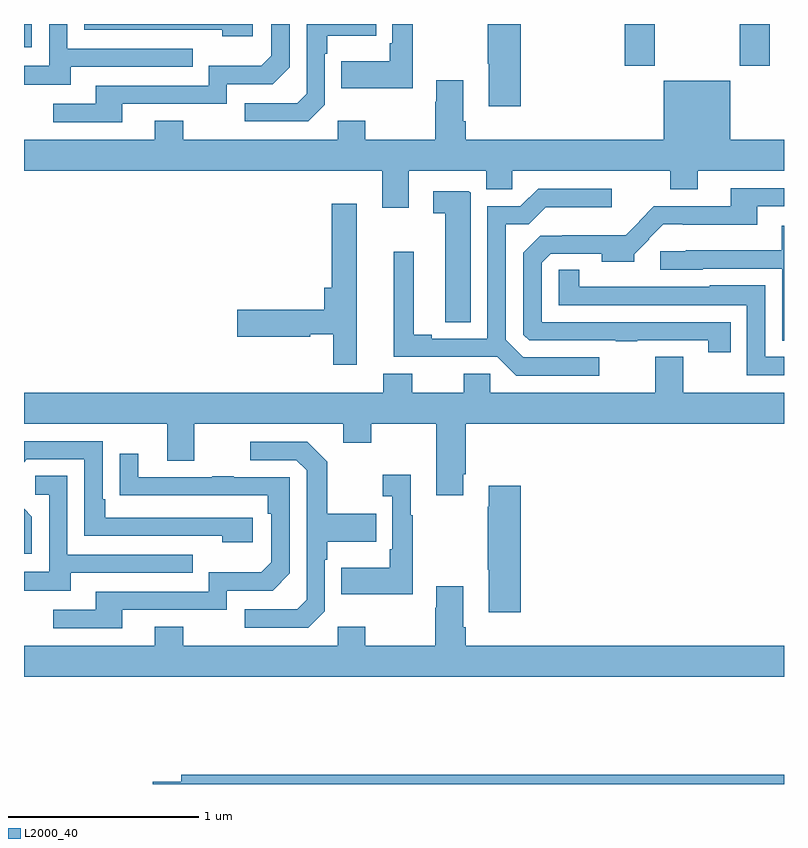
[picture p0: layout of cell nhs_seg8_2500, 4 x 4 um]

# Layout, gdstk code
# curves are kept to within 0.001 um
import gdstk
lib = gdstk.Library(unit=1e-6, precision=1e-09)
def R(c, l, rs):  # rectangles x0, y0, x1, y1
    for r in rs: c.add(gdstk.rectangle(r[:2], r[2:], *l))
def P(c, l, *ps):  # polygons
    for p in ps: c.add(gdstk.Polygon(p, *l))
L2000_40 = (2000, 40)

nhs_seg8_2500 = lib.new_cell('nhs_seg8_2500')
R(nhs_seg8_2500, L2000_40, [(270.161,1155.681,270.321,1155.9), (270.766,1155.681,270.926,1155.9), (267,1155.777,267.042,1155.9)])
P(nhs_seg8_2500, L2000_40, [(267.517,1155.48),(268.068,1155.48),(268.068,1155.582),(268.308,1155.582),(268.398,1155.672),(268.398,1155.9),(268.302,1155.9),(268.302,1155.732),(268.249,1155.679),(267.972,1155.679),(267.972,1155.576),(267.377,1155.576),(267.377,1155.48),(267.153,1155.48),(267.153,1155.384),(267.517,1155.384)],
  [(268.584,1155.474),(268.584,1155.743),(268.597,1155.743),(268.597,1155.839),(268.853,1155.839),(268.853,1155.9),(268.488,1155.9),(268.488,1155.534),(268.437,1155.483),(268.161,1155.483),(268.161,1155.387),(268.497,1155.387)],
  [(267.247,1155.675),(267.887,1155.675),(267.887,1155.771),(267.228,1155.771),(267.228,1155.9),(267.132,1155.9),(267.132,1155.681),(267,1155.681),(267,1155.581),(267.247,1155.581)],
  [(268.204,1155.9),(267.318,1155.9),(267.318,1155.87),(268.043,1155.87),(268.043,1155.836),(268.204,1155.836)],
  [(269.615,1155.9),(269.44,1155.9),(269.44,1155.691),(269.447,1155.691),(269.447,1155.468),(269.615,1155.468)],
  [(269.047,1155.9),(268.938,1155.9),(268.938,1155.799),(268.926,1155.799),(268.926,1155.703),(268.669,1155.703),(268.669,1155.563),(269.047,1155.563)],
  [(269.026,1155.128),(269.432,1155.128),(269.432,1155.03),(269.571,1155.03),(269.571,1155.128),(270.4,1155.128),(270.4,1155.029),(270.547,1155.029),(270.547,1155.128),(271,1155.128),(271,1155.292),(270.718,1155.292),(270.718,1155.601),(270.368,1155.601),(270.368,1155.292),(269.324,1155.292),(269.324,1155.388),(269.311,1155.388),(269.311,1155.604),(269.171,1155.604),(269.171,1155.491),(269.164,1155.491),(269.164,1155.292),(268.797,1155.292),(268.797,1155.391),(268.65,1155.391),(268.65,1155.292),(267.837,1155.292),(267.837,1155.391),(267.689,1155.391),(267.689,1155.292),(267,1155.292),(267,1155.128),(268.886,1155.128),(268.886,1154.934),(269.026,1154.934)],
  [(270.719,1154.331),(269.724,1154.331),(269.724,1154.643),(269.772,1154.691),(270.041,1154.691),(270.041,1154.648),(270.212,1154.648),(270.212,1154.688),(270.291,1154.766),(270.288,1154.769),(270.365,1154.846),(270.466,1154.846),(270.466,1154.843),(270.859,1154.843),(270.859,1154.94),(271,1154.94),(271,1155.036),(270.719,1155.036),(270.719,1154.94),(270.315,1154.94),(270.239,1154.863),(270.241,1154.861),(270.167,1154.788),(269.833,1154.788),(269.833,1154.786),(269.717,1154.786),(269.628,1154.697),(269.628,1154.265),(269.658,1154.235),(270.115,1154.235),(270.115,1154.23),(270.227,1154.23),(270.227,1154.235),(270.601,1154.235),(270.601,1154.172),(270.719,1154.172)],
  [(270.028,1154.145),(269.628,1154.145),(269.535,1154.238),(269.535,1154.845),(269.656,1154.845),(269.747,1154.936),(270.094,1154.936),(270.094,1155.033),(269.706,1155.033),(269.613,1154.94),(269.439,1154.94),(269.439,1154.244),(269.146,1154.244),(269.146,1154.264),(269.05,1154.264),(269.05,1154.701),(268.946,1154.701),(268.946,1154.148),(269.492,1154.148),(269.591,1154.049),(270.028,1154.049)],
  [(269.35,1155.011),(269.34,1155.021),(269.154,1155.021),(269.154,1154.905),(269.216,1154.905),(269.216,1154.329),(269.35,1154.329)],
  [(268.75,1154.953),(268.619,1154.953),(268.619,1154.512),(268.58,1154.512),(268.58,1154.396),(268.122,1154.396),(268.122,1154.254),(268.506,1154.254),(268.506,1154.266),(268.628,1154.266),(268.628,1154.106),(268.75,1154.106)],
  [(271,1154.839),(270.989,1154.839),(270.989,1154.71),(270.483,1154.71),(270.483,1154.703),(270.348,1154.703),(270.348,1154.607),(270.573,1154.607),(270.573,1154.613),(270.99,1154.613),(270.99,1154.233),(271,1154.233)],
  [(271,1154.148),(270.9,1154.148),(270.9,1154.524),(270.609,1154.524),(270.609,1154.517),(270.177,1154.517),(270.177,1154.518),(269.923,1154.518),(269.923,1154.606),(269.814,1154.606),(269.814,1154.421),(270.804,1154.421),(270.804,1154.052),(271,1154.052)],
  [(269.311,1153.531),(269.324,1153.531),(269.324,1153.796),(271,1153.796),(271,1153.96),(270.471,1153.96),(270.471,1154.15),(270.323,1154.15),(270.323,1153.96),(269.454,1153.96),(269.454,1154.058),(269.315,1154.058),(269.315,1153.96),(269.044,1153.96),(269.044,1154.059),(268.892,1154.059),(268.892,1153.96),(267,1153.96),(267,1153.796),(267.755,1153.796),(267.755,1153.602),(267.895,1153.602),(267.895,1153.796),(268.679,1153.796),(268.679,1153.697),(268.827,1153.697),(268.827,1153.796),(269.171,1153.796),(269.171,1153.419),(269.311,1153.419)],
  [(268.204,1153.302),(267.427,1153.302),(267.427,1153.399),(267.414,1153.399),(267.414,1153.704),(267,1153.704),(267,1153.593),(267.015,1153.608),(267.318,1153.608),(267.318,1153.206),(268.043,1153.206),(268.043,1153.172),(268.204,1153.172)],
  [(268.584,1152.81),(268.584,1153.079),(268.597,1153.079),(268.597,1153.175),(268.853,1153.175),(268.853,1153.323),(268.597,1153.323),(268.597,1153.595),(268.491,1153.701),(268.191,1153.701),(268.191,1153.605),(268.434,1153.605),(268.488,1153.551),(268.488,1152.87),(268.437,1152.819),(268.161,1152.819),(268.161,1152.723),(268.497,1152.723)],
  [(267.517,1152.816),(268.068,1152.816),(268.068,1152.918),(268.308,1152.918),(268.398,1153.008),(268.398,1153.515),(268.103,1153.515),(268.103,1153.52),(267.991,1153.52),(267.991,1153.515),(267.601,1153.515),(267.601,1153.639),(267.505,1153.639),(267.505,1153.42),(268.282,1153.419),(268.282,1153.322),(268.302,1153.322),(268.302,1153.068),(268.249,1153.015),(267.972,1153.015),(267.972,1152.912),(267.377,1152.912),(267.377,1152.816),(267.153,1152.816),(267.153,1152.72),(267.517,1152.72)],
  [(269.047,1153.315),(269.035,1153.315),(269.035,1153.528),(268.887,1153.528),(268.887,1153.415),(268.938,1153.415),(268.938,1153.135),(268.926,1153.135),(268.926,1153.039),(268.669,1153.039),(268.669,1152.899),(269.047,1152.899)],
  [(267.247,1153.011),(267.887,1153.011),(267.887,1153.107),(267.228,1153.107),(267.228,1153.523),(267.06,1153.523),(267.06,1153.422),(267.132,1153.422),(267.132,1153.017),(267,1153.017),(267,1152.917),(267.247,1152.917)],
  [(269.615,1153.471),(269.447,1153.471),(269.447,1153.358),(269.44,1153.358),(269.44,1153.027),(269.447,1153.027),(269.447,1152.804),(269.615,1152.804)],
  [(267.042,1153.306),(267,1153.348),(267,1153.113),(267.042,1153.113)],
  [(271,1152.628),(269.324,1152.628),(269.324,1152.724),(269.311,1152.724),(269.311,1152.94),(269.171,1152.94),(269.171,1152.827),(269.164,1152.827),(269.164,1152.628),(268.797,1152.628),(268.797,1152.727),(268.65,1152.727),(268.65,1152.628),(267.837,1152.628),(267.837,1152.727),(267.689,1152.727),(267.689,1152.628),(267,1152.628),(267,1152.464),(271,1152.464)],
  [(271,1151.948),(267.827,1151.948),(267.827,1151.912),(267.678,1151.912),(267.678,1151.9),(271,1151.9)])

lib.write_gds('nhs_seg8_2500.gds')
